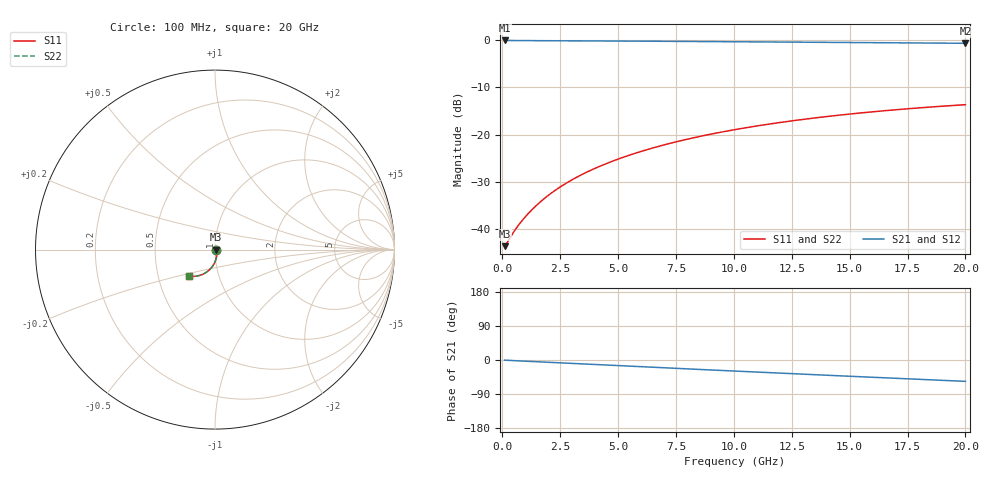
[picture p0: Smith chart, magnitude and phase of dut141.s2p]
! Touchstone file exported from HFSS 2026.1.0
!  File:  C:/ffzhzh/LocalFiles/Ansys_Project_Files/temp_train_TMRDL_141_1782982965_40604.aedt
!  Generated:  05:04:31 PM Jul  2, 2026
!  Design:  TMRDL
!  Project:  temp_train_TMRDL_141_1782982965_40604
! Variables:
!  h_bsmrdl = 2um
!  h_ox = 20um
!  h_rdl = 5um
!  h_sub = 80um
!  h_tmrdl = 3.94um
!  h_tsv = 80um
!  h_via = 3um
!  l_bsmrdl = 300um
!  l_sub = 1391.68um
!  l_tmrdl = 991.68um
!  m_sub = 200um
!  pitch = 15.6um
!  r_tsv = 6um
!  s_tmrdl = 10um
!  w_bsmrdl = 18um
!  w_sub = 500um
!  w_tmrdl = 13.72um
!  x_tsv_center1 = 998.54um
!  x_tsv_center2 = 1316.54um
!  x_tsv_center3 = 2321.94um
!  x_tsv_center4 = 2639.94um
!  x_tsv_center5 = 3645.34um
!  x_tsv_center6 = 3963.34um
# GHz S MA R 50.000000
! Terminal data exported
! Port[1] = TM_RDL1_1_T1
! Port[2] = TM_RDL1_1_T2
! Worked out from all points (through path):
!   200 points, 100 MHz to 20 GHz, reference 50 ohm
!   highest |S21| = -0.06 dB at 100 MHz (marker M1); lowest = -0.7 dB at 20 GHz (marker M2)
!   group delay of S21, straight-line fit = 7.8 ps
!   lowest |S11| = -43.5 dB at 100 MHz (marker M3), VSWR 1.01, Z = 50.7 - j0.0014 ohm
!   |S11| at or under -10 dB: start of sweep to end of sweep
!   |S22| runs from -43.5 to -13.6 dB; largest |S21 - S12| = 1.8e-13
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0.1  0.006657 -0.1  0.9933 -0.4  0.9933 -0.4  0.006657 -0.1
! Gamma 0 0 0 0
! Port Impedance 50 0 50 0
0.2  0.007176 -1.8  0.9928 -0.7  0.9928 -0.7  0.007176 -1.8
0.5  0.009469 -15.0  0.9908 -1.7  0.9908 -1.7  0.009469 -15.0
0.8  0.01194 -29.6  0.9894 -2.6  0.9894 -2.6  0.01194 -29.6
1.1  0.01453 -41.1  0.9886 -3.4  0.9886 -3.4  0.01453 -41.1
1.5  0.01819 -52.1  0.9877 -4.6  0.9877 -4.6  0.01819 -52.1
1.9  0.02206 -59.8  0.9869 -5.8  0.9869 -5.8  0.02205 -59.9
2.4  0.02709 -66.8  0.986 -7.3  0.986 -7.3  0.02708 -66.8
2.9  0.0323 -71.9  0.9849 -8.7  0.9849 -8.7  0.03229 -71.9
3.5  0.03872 -76.6  0.9836 -10.5  0.9836 -10.5  0.0387 -76.6
4.2  0.04641 -80.9  0.9818 -12.5  0.9818 -12.5  0.04639 -81.0
5  0.05539 -85.1  0.9796 -14.9  0.9796 -14.9  0.05537 -85.1
5.9  0.06568 -89.1  0.9769 -17.5  0.9769 -17.5  0.06565 -89.1
6.8  0.07609 -92.7  0.9741 -20.1  0.9741 -20.1  0.07605 -92.8
7.6  0.08538 -95.8  0.9714 -22.3  0.9714 -22.3  0.08533 -95.8
8.4  0.09465 -98.7  0.9687 -24.6  0.9687 -24.6  0.09459 -98.7
10.1  0.1141 -104.5  0.9628 -29.4  0.9628 -29.4  0.114 -104.6
11.7  0.1318 -109.8  0.9571 -33.8  0.9571 -33.8  0.1317 -109.9
13.4  0.1498 -115.2  0.951 -38.5  0.951 -38.5  0.1497 -115.3
15  0.1657 -120.2  0.9452 -42.9  0.9452 -42.9  0.1656 -120.3
16.7  0.1815 -125.3  0.939 -47.5  0.939 -47.5  0.1813 -125.4
20  0.2081 -134.8  0.9271 -56.4  0.9271 -56.4  0.2079 -134.9
